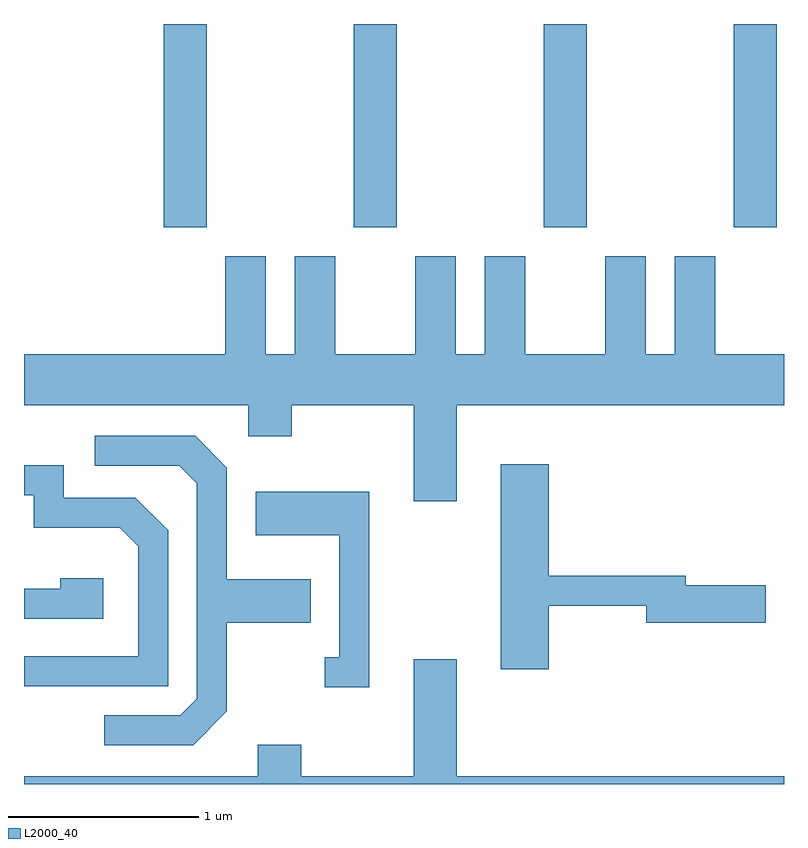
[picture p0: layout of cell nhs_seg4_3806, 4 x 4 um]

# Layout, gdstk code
import gdstk
lib = gdstk.Library(unit=1e-6, precision=1e-09)
def R(c, l, rs):  # rectangles x0, y0, x1, y1
    for r in rs: c.add(gdstk.rectangle(r[:2], r[2:], *l))
def A(c, l, x, y, w, h, nx, ny, dx, dy):  # array of equal rectangles
    R(c, l, [(x+i*dx, y+j*dy, x+i*dx+w, y+j*dy+h) for i in range(nx) for j in range(ny)])
def P(c, l, *ps):  # polygons
    for p in ps: c.add(gdstk.Polygon(p, *l))
L2000_40 = (2000, 40)

nhs_seg4_3806 = lib.new_cell('nhs_seg4_3806')
A(nhs_seg4_3806, L2000_40, 296.346, 1388.911, 0.228, 1.071, 4, 1, 1, 0)
P(nhs_seg4_3806, L2000_40, [(297.889,1387.976),(299.611,1387.976),(299.611,1388.244),(299.249,1388.244),(299.249,1388.759),(299.036,1388.759),(299.036,1388.244),(298.884,1388.244),(298.884,1388.759),(298.671,1388.759),(298.671,1388.244),(298.249,1388.244),(298.249,1388.759),(298.036,1388.759),(298.036,1388.244),(297.884,1388.244),(297.884,1388.759),(297.671,1388.759),(297.671,1388.244),(297.249,1388.244),(297.249,1388.759),(297.036,1388.759),(297.036,1388.244),(296.884,1388.244),(296.884,1388.759),(296.671,1388.759),(296.671,1388.244),(295.611,1388.244),(295.611,1387.976),(296.791,1387.976),(296.791,1387.811),(297.019,1387.811),(297.019,1387.976),(297.661,1387.976),(297.661,1387.471),(297.889,1387.471)],
  [(296.679,1386.364),(296.679,1386.831),(297.119,1386.831),(297.119,1387.059),(296.679,1387.059),(296.679,1387.647),(296.512,1387.814),(295.983,1387.814),(295.983,1387.656),(296.429,1387.656),(296.521,1387.564),(296.521,1386.432),(296.434,1386.344),(296.033,1386.344),(296.033,1386.186),(296.502,1386.186)],
  [(298.374,1386.921),(298.886,1386.921),(298.886,1386.831),(299.514,1386.831),(299.514,1387.029),(299.094,1387.029),(299.094,1387.079),(298.374,1387.079),(298.374,1387.664),(298.121,1387.664),(298.121,1386.586),(298.374,1386.586)],
  [(296.369,1387.317),(296.197,1387.489),(295.819,1387.489),(295.819,1387.659),(295.611,1387.659),(295.611,1387.501),(295.661,1387.501),(295.661,1387.331),(296.114,1387.331),(296.211,1387.234),(296.211,1386.654),(295.611,1386.654),(295.611,1386.496),(296.369,1386.496)],
  [(297.429,1387.519),(296.831,1387.519),(296.831,1387.291),(297.271,1387.291),(297.271,1386.649),(297.193,1386.649),(297.193,1386.491),(297.429,1386.491)],
  [(296.029,1387.064),(295.801,1387.064),(295.801,1387.009),(295.611,1387.009),(295.611,1386.851),(296.029,1386.851)],
  [(299.611,1386.024),(297.889,1386.024),(297.889,1386.639),(297.661,1386.639),(297.661,1386.024),(297.069,1386.024),(297.069,1386.189),(296.841,1386.189),(296.841,1386.024),(295.611,1386.024),(295.611,1385.982),(299.611,1385.982)])

lib.write_gds('nhs_seg4_3806.gds')
